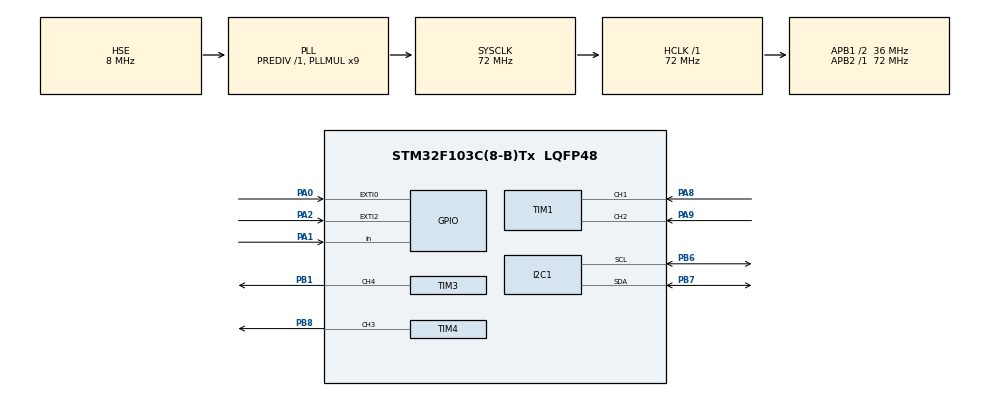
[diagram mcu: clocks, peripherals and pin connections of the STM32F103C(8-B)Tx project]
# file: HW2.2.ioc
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Mcu.Family=STM32F1
Mcu.Name=STM32F103C(8-B)Tx
Mcu.Package=LQFP48
NVIC.EXTI0_IRQn=true\:0\:0\:false\:false\:true\:true\:true\:true
NVIC.EXTI2_IRQn=true\:0\:0\:false\:false\:true\:true\:true\:true
NVIC.I2C1_ER_IRQn=true\:0\:0\:false\:false\:true\:true\:true\:true
NVIC.I2C1_EV_IRQn=true\:0\:0\:false\:false\:true\:true\:true\:true
NVIC.PriorityGroup=NVIC_PRIORITYGROUP_4
NVIC.TIM2_IRQn=true\:0\:0\:false\:false\:true\:true\:true\:true
PA0-WKUP.GPIO_ModeDefaultEXTI=GPIO_MODE_IT_FALLING
PA0-WKUP.GPIO_PuPd=GPIO_PULLUP
PA0-WKUP.Signal=GPXTI0
PA1.GPIO_PuPd=GPIO_PULLUP
PA1.Signal=GPIO_Input
PA13.Mode=Serial_Wire
PA13.Signal=SYS_JTMS-SWDIO
PA14.Mode=Serial_Wire
PA14.Signal=SYS_JTCK-SWCLK
PA2.GPIO_ModeDefaultEXTI=GPIO_MODE_IT_FALLING
PA2.GPIO_PuPd=GPIO_PULLUP
PA2.Signal=GPXTI2
PA8.Signal=S_TIM1_CH1
PA9.Signal=S_TIM1_CH2
PB1.Signal=S_TIM3_CH4
PB6.Mode=I2C
PB6.Signal=I2C1_SCL
PB7.Mode=I2C
PB7.Signal=I2C1_SDA
PB8.Signal=S_TIM4_CH3
PD0-OSC_IN.Mode=HSE-External-Oscillator
PD0-OSC_IN.Signal=RCC_OSC_IN
PD1-OSC_OUT.Mode=HSE-External-Oscillator
PD1-OSC_OUT.Signal=RCC_OSC_OUT
ProjectManager.HeapSize=0x200
ProjectManager.StackSize=0x400
ProjectManager.TargetToolchain=MDK-ARM V5.32
RCC.AHBFreq_Value=72000000
RCC.APB1CLKDivider=RCC_HCLK_DIV2
RCC.APB1Freq_Value=36000000
RCC.APB1TimFreq_Value=72000000
RCC.APB2Freq_Value=72000000
RCC.APB2TimFreq_Value=72000000
RCC.HCLKFreq_Value=72000000
RCC.PLLMUL=RCC_PLL_MUL9
RCC.PLLSourceVirtual=RCC_PLLSOURCE_HSE
RCC.SYSCLKFreq_VALUE=72000000
RCC.SYSCLKSource=RCC_SYSCLKSOURCE_PLLCLK
RCC.USBFreq_Value=72000000
SH.S_TIM1_CH1.0=TIM1_CH1,Encoder_Interface
SH.S_TIM1_CH2.0=TIM1_CH2,Encoder_Interface
SH.S_TIM3_CH4.0=TIM3_CH4,PWM Generation4 CH4
SH.S_TIM4_CH3.0=TIM4_CH3,PWM Generation3 CH3
TIM2.Period=999
TIM2.Prescaler=71
TIM3.Channel-PWM\ Generation4\ CH4=TIM_CHANNEL_4
TIM3.Period=249
TIM3.Prescaler=71
TIM4.Channel-PWM\ Generation3\ CH3=TIM_CHANNEL_3
TIM4.Prescaler=719
VP_TIM2_VS_ClockSourceINT.Mode=Internal
VP_TIM3_VS_ClockSourceINT.Mode=Internal
VP_TIM4_VS_ClockSourceINT.Mode=Internal
board=custom

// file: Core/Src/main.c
/* USER CODE BEGIN Header */
/**
  ******************************************************************************
  * @file           : main.c
  * @brief          : Main program body
  ******************************************************************************
  * @attention
  *
  * Copyright (c) 2026 STMicroelectronics.
  * All rights reserved.
  *
  * This software is licensed under terms that can be found in the LICENSE file
  * in the root directory of this software component.
  * If no LICENSE file comes with this software, it is provided AS-IS.
  *
  ******************************************************************************
  */
/* USER CODE END Header */
#include "main.h"
#include "i2c.h"
#include "tim.h"
#include "gpio.h"

/* USER CODE BEGIN Includes */
#include "OLED.h"

/* USER CODE END Includes */

/* USER CODE BEGIN PV */
 int16_t angle = 0;
 uint16_t servo_angle = 500;
 uint32_t tim2 = 0;
 uint8_t bee= 0;
 void SystemClock_Config(void);

/* USER CODE END PV */

void SystemClock_Config(void);
/* USER CODE BEGIN PFP */
void HAL_GPIO_EXTI_Callback(uint16_t GPIO_Pin){
   if(GPIO_Pin == GPIO_PIN_0)
   {
     if(HAL_GPIO_ReadPin(GPIOA, GPIO_PIN_1) == GPIO_PIN_SET)
     {
       angle ++;
     }
     else
     {
       angle --;
     }
}servo_angle = 500 + (uint16_t)(angle * 2000.0f / 180.0f);}

/* USER CODE END PFP */

int main(void)
{

  /* MCU Configuration--------------------------------------------------------*/

  /* Reset of all peripherals, Initializes the Flash interface and the Systick. */
  HAL_Init();

  /* Configure the system clock */
  SystemClock_Config();

  /* Initialize all configured peripherals */
  MX_GPIO_Init();
  MX_I2C1_Init();
  MX_TIM1_Init();
  MX_TIM3_Init();
  MX_TIM2_Init();
  MX_TIM4_Init();
  /* USER CODE BEGIN 2 */
   OLED_Init();
   OLED_Clear();
   HAL_TIM_Encoder_Start(&htim1, TIM_CHANNEL_ALL);
	 HAL_TIM_PWM_Start(&htim4, TIM_CHANNEL_3);
	 int count = 0;
	 int duty=0;
	 HAL_TIM_PWM_Start(&htim3, TIM_CHANNEL_4);
	 __HAL_TIM_SET_COMPARE(&htim3,TIM_CHANNEL_4,245/5);

   HAL_TIM_Base_Start_IT(&htim2);
   HAL_TIM_PWM_Stop(&htim3, TIM_CHANNEL_4);

  /* USER CODE END 2 */

  /* Infinite loop */
  /* USER CODE BEGIN WHILE */
  while (1)
  {
		count=__HAL_TIM_GET_COUNTER(&htim1);
		if (count > 60000){
		count=0;
		__HAL_TIM_SET_COUNTER(&htim1,0);
		}
		else if(count>20){
		count=20;
		__HAL_TIM_SET_COUNTER(&htim1,20);
		}
		duty=(10*count/20.0+2.5)/100.0*2000;
		__HAL_TIM_SET_COMPARE(&htim4,TIM_CHANNEL_3,duty);
		HAL_Delay(10);

     OLED_ShowString(1,1,"ServoAngle:");
     OLED_ShowNum(1,12,servo_angle,3);
     HAL_Delay(10);
 }
    /* USER CODE END WHILE */

}

void SystemClock_Config(void)
{
  RCC_OscInitTypeDef RCC_OscInitStruct = {0};
  RCC_ClkInitTypeDef RCC_ClkInitStruct = {0};

  /** Initializes the RCC Oscillators according to the specified parameters
  * in the RCC_OscInitTypeDef structure.
  */
  RCC_OscInitStruct.OscillatorType = RCC_OSCILLATORTYPE_HSE;
  RCC_OscInitStruct.HSEState = RCC_HSE_ON;
  RCC_OscInitStruct.HSEPredivValue = RCC_HSE_PREDIV_DIV1;
  RCC_OscInitStruct.HSIState = RCC_HSI_ON;
  RCC_OscInitStruct.PLL.PLLState = RCC_PLL_ON;
  RCC_OscInitStruct.PLL.PLLSource = RCC_PLLSOURCE_HSE;
  RCC_OscInitStruct.PLL.PLLMUL = RCC_PLL_MUL9;
  if (HAL_RCC_OscConfig(&RCC_OscInitStruct) != HAL_OK)
  {
    Error_Handler();
  }

  /** Initializes the CPU, AHB and APB buses clocks
  */
  RCC_ClkInitStruct.ClockType = RCC_CLOCKTYPE_HCLK|RCC_CLOCKTYPE_SYSCLK
                              |RCC_CLOCKTYPE_PCLK1|RCC_CLOCKTYPE_PCLK2;
  RCC_ClkInitStruct.SYSCLKSource = RCC_SYSCLKSOURCE_PLLCLK;
  RCC_ClkInitStruct.AHBCLKDivider = RCC_SYSCLK_DIV1;
  RCC_ClkInitStruct.APB1CLKDivider = RCC_HCLK_DIV2;
  RCC_ClkInitStruct.APB2CLKDivider = RCC_HCLK_DIV1;

  if (HAL_RCC_ClockConfig(&RCC_ClkInitStruct, FLASH_LATENCY_2) != HAL_OK)
  {
    Error_Handler();
  }
}

void Error_Handler(void)
{
  __disable_irq();
  while (1)
  {
  }
}
